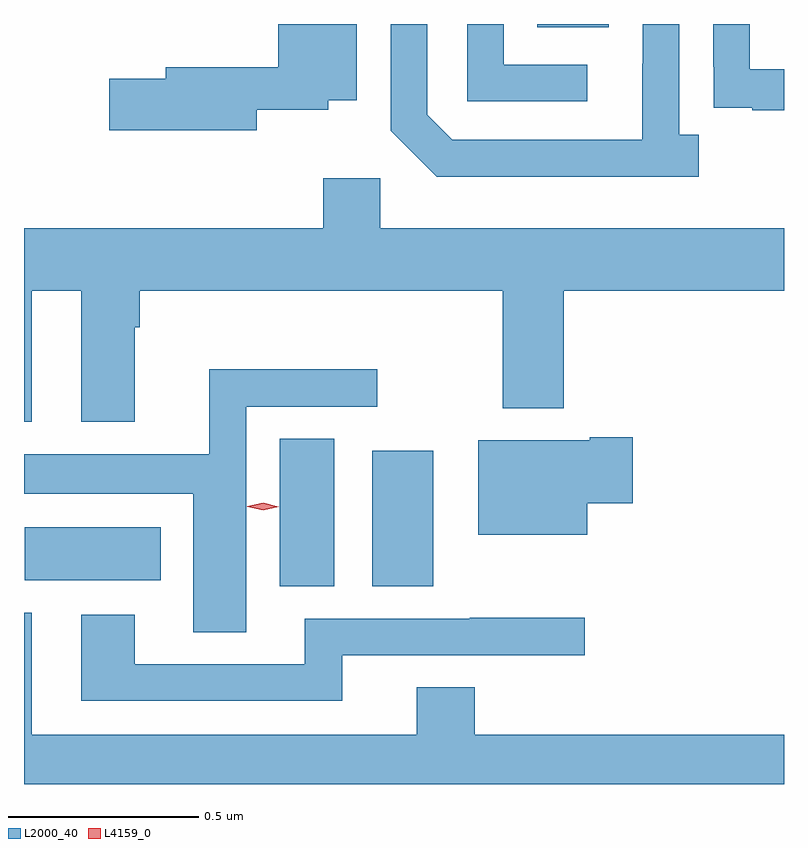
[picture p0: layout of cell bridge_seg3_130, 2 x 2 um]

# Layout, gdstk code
import gdstk
lib = gdstk.Library(unit=1e-6, precision=1e-09)
def R(c, l, rs):  # rectangles x0, y0, x1, y1
    for r in rs: c.add(gdstk.rectangle(r[:2], r[2:], *l))
def P(c, l, *ps):  # polygons
    for p in ps: c.add(gdstk.Polygon(p, *l))
L2000_40 = (2000, 40)
L4159_0 = (4159, 0)

bridge_seg3_130 = lib.new_cell('bridge_seg3_130')
R(bridge_seg3_130, L2000_40, [(338.057,708.13,338.2,708.518), (338.3,708.13,338.461,708.487), (337.386,708.146,337.744,708.286), (338.735,709.601,338.923,709.61)])
P(bridge_seg3_130, L2000_40, [(339.384,709.491),(339.294,709.491),(339.294,709.61),(339.198,709.61),(339.198,709.498),(339.199,709.498),(339.199,709.389),(339.301,709.389),(339.301,709.383),(339.384,709.383)],
  [(339.16,709.318),(339.108,709.318),(339.108,709.61),(339.012,709.61),(339.012,709.505),(339.011,709.505),(339.011,709.305),(338.511,709.305),(338.445,709.371),(338.445,709.61),(338.349,709.61),(338.349,709.329),(338.47,709.208),(339.16,709.208)],
  [(337.996,709.385),(338.184,709.385),(338.184,709.409),(338.26,709.409),(338.26,709.61),(338.053,709.61),(338.053,709.496),(337.757,709.496),(337.757,709.466),(337.608,709.466),(337.608,709.331),(337.996,709.331)],
  [(338.866,709.503),(338.646,709.503),(338.646,709.61),(338.55,709.61),(338.55,709.407),(338.866,709.407)],
  [(337.405,708.908),(337.535,708.908),(337.535,708.563),(337.675,708.563),(337.675,708.812),(337.688,708.812),(337.688,708.908),(338.644,708.908),(338.644,708.599),(338.804,708.599),(338.804,708.908),(339.384,708.908),(339.384,709.072),(338.322,709.072),(338.322,709.204),(338.171,709.204),(338.171,709.072),(337.384,709.072),(337.384,708.563),(337.405,708.563)],
  [(337.969,708.603),(338.314,708.603),(338.314,708.701),(337.871,708.701),(337.871,708.478),(337.384,708.478),(337.384,708.374),(337.829,708.374),(337.829,708.01),(337.969,708.01)],
  [(338.866,708.349),(338.986,708.349),(338.986,708.522),(338.873,708.522),(338.873,708.514),(338.579,708.514),(338.579,708.266),(338.866,708.266)],
  [(339.384,707.74),(338.57,707.74),(338.57,707.864),(338.417,707.864),(338.417,707.74),(337.405,707.74),(337.405,708.061),(337.384,708.061),(337.384,707.61),(339.384,707.61)],
  [(338.222,707.949),(338.86,707.949),(338.86,708.048),(338.557,708.048),(338.557,708.045),(338.123,708.045),(338.123,707.925),(337.675,707.925),(337.675,708.055),(337.535,708.055),(337.535,707.829),(338.222,707.829)])
P(bridge_seg3_130, L4159_0, [(338.013,708.33),(337.972,708.34),(337.972,708.34),(337.972,708.341),(338.013,708.35),(338.054,708.34),(338.054,708.34),(338.054,708.34)])

lib.write_gds('bridge_seg3_130.gds')
